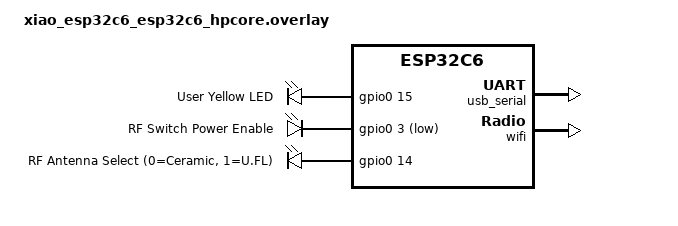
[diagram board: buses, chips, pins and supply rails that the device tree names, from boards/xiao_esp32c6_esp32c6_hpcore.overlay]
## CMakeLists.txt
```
cmake_minimum_required(VERSION 3.20.0)
find_package(Zephyr REQUIRED HINTS $ENV{ZEPHYR_BASE})
project(xiao_c6_zephyr_bringup)

if(CONFIG_WIFI AND CONFIG_MQTT_LIB)
    target_sources(app PRIVATE src/wifi_mqtt.c)
else()
    target_sources(app PRIVATE src/main.c)
endif()
```

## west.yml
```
manifest:
  defaults:
    remote: upstream

  remotes:
    - name: upstream
      url-base: https://github.com/zephyrproject-rtos

  projects:
    - name: zephyr
      remote: upstream
      revision: main
      clone-depth: 1
      import:
        name-allowlist:
          - hal_espressif
          - mbedtls
          - mcuboot
          - tf-psa-crypto

  self:
    path: xiao_c6_zephyr_app
```

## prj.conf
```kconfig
# Core & GPIO
CONFIG_GPIO=y
CONFIG_MAIN_STACK_SIZE=2048

# Console over built-in ESP32-C6 USB Serial/JTAG
CONFIG_SERIAL=y
CONFIG_CONSOLE=y
CONFIG_UART_CONSOLE=y

# High-resolution cycle counter for boot & latency benchmarking
CONFIG_TIMING_FUNCTIONS=y

# Enable Thread Info for Espressif OpenOCD debugging
CONFIG_DEBUG_THREAD_INFO=y
```

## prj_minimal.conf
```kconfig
CONFIG_GPIO=y
CONFIG_SERIAL=n
CONFIG_CONSOLE=n
CONFIG_UART_CONSOLE=n
CONFIG_PRINTK=n
CONFIG_BOOT_BANNER=n
CONFIG_SIZE_OPTIMIZATIONS=y
CONFIG_ASSERT=n
CONFIG_ERRNO=n
CONFIG_MAIN_STACK_SIZE=1024
CONFIG_IDLE_STACK_SIZE=512
CONFIG_ISR_STACK_SIZE=1024
```

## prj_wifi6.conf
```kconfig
# GPIO & Console over USB Serial/JTAG
CONFIG_GPIO=y
CONFIG_SERIAL=y
CONFIG_CONSOLE=y
CONFIG_UART_CONSOLE=y
CONFIG_PRINTK=y

# ESP32-C6 Wi-Fi 6 & L2 Ethernet Bridge
CONFIG_WIFI=y
CONFIG_WIFI_ESP32=y
CONFIG_NET_L2_ETHERNET=y
CONFIG_ESP32_WIFI_STA_AUTO_DHCPV4=y

# Core Zephyr Networking Stack
CONFIG_NETWORKING=y
CONFIG_NET_IPV4=y
CONFIG_NET_IPV6=n
CONFIG_NET_TCP=y
CONFIG_NET_UDP=y
CONFIG_NET_DHCPV4=y
CONFIG_DNS_RESOLVER=y

# Network Management Events & BSD Sockets
CONFIG_NET_MGMT=y
CONFIG_NET_MGMT_EVENT=y
CONFIG_NET_MGMT_EVENT_INFO=y
CONFIG_NET_MGMT_EVENT_STACK_SIZE=4096
CONFIG_NET_SOCKETS=y
CONFIG_POSIX_API=y

# MQTT Client Library
CONFIG_MQTT_LIB=y
CONFIG_MQTT_LIB_TLS=n

# Memory & Buffer Pool Tuning (Required for ESP32 Wi-Fi Blob + Zephyr net_pkt)
CONFIG_HEAP_MEM_POOL_SIZE=65536
CONFIG_MAIN_STACK_SIZE=4096
CONFIG_SYSTEM_WORKQUEUE_STACK_SIZE=2048
CONFIG_NET_TX_STACK_SIZE=2048
CONFIG_NET_RX_STACK_SIZE=2048
CONFIG_NET_PKT_RX_COUNT=16
CONFIG_NET_PKT_TX_COUNT=16
CONFIG_NET_BUF_RX_COUNT=32
CONFIG_NET_BUF_TX_COUNT=32

# Interactive Wi-Fi Shell (Allows testing via serial terminal: `wifi connect ...`)
CONFIG_SHELL=y
CONFIG_NET_SHELL=y
CONFIG_WIFI_SHELL=y
```

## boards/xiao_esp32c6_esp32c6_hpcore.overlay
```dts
/ {
    aliases {
        led0 = &user_led;
    };

    leds {
        compatible = "gpio-leds";
        user_led: led_0 {
            gpios = <&gpio0 15 GPIO_ACTIVE_HIGH>;
            label = "User Yellow LED";
        };
    };

    rf_switch {
        compatible = "gpio-leds";
        rf_switch_en: rf_en {
            gpios = <&gpio0 3 GPIO_ACTIVE_LOW>;
            label = "RF Switch Power Enable";
        };
        rf_ant_sel: rf_sel {
            gpios = <&gpio0 14 GPIO_ACTIVE_HIGH>;
            label = "RF Antenna Select (0=Ceramic, 1=U.FL)";
        };
    };
};

&usb_serial {
    status = "okay";
};

&wifi {
    status = "okay";
};
```

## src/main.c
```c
#include <zephyr/kernel.h>
#include <zephyr/drivers/gpio.h>
#include <zephyr/sys/printk.h>

#define LED0_NODE DT_ALIAS(led0)

static const struct gpio_dt_spec led = GPIO_DT_SPEC_GET(LED0_NODE, gpios);

int main(void)
{
    uint32_t boot_cycles = k_cycle_get_32();
    uint32_t boot_us = k_cyc_to_us_floor32(boot_cycles);

    if (!gpio_is_ready_dt(&led)) {
        printk("Error: User LED (led0) not ready!\n");
        return 0;
    }
    gpio_pin_configure_dt(&led, GPIO_OUTPUT_ACTIVE);

    printk("\n========================================\n");
    printk("  Seeed Studio XIAO ESP32C6 - Zephyr RTOS\n");
    printk("  Board: xiao_esp32c6 (RISC-V HP Core)   \n");
    printk("========================================\n");
    printk("Kernel ticks to main(): %u us (%u cycles)\n", boot_us, boot_cycles);
#if defined(CONFIG_XIAO_ESP32C6_EXT_ANTENNA)
    printk("Antenna Mode: External U.FL\n");
#else
    printk("Antenna Mode: Internal Ceramic\n");
#endif
    printk("Yellow User LED (GPIO 15) Active-LOW blinking...\n");
    printk("========================================\n\n");

    uint32_t count = 0;
    while (1) {
        gpio_pin_toggle_dt(&led);
        count++;
        if (count % 10 == 0) {
            printk("[Uptime: %lld ms] Heartbeat toggle #%u (LED active-low)\n",
                   k_uptime_get(), count);
        }
        k_msleep(500);
    }
    return 0;
}
```

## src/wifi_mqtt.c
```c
#include <zephyr/kernel.h>
#include <zephyr/drivers/gpio.h>
#include <zephyr/net/net_if.h>
#include <zephyr/net/wifi_mgmt.h>
#include <zephyr/net/net_event.h>
#include <zephyr/net/socket.h>
#include <zephyr/net/mqtt.h>
#include <zephyr/sys/printk.h>
#include <string.h>
#include <stdio.h>
#include <errno.h>

/* ---------------- CONFIGURATION ---------------- */
#define WIFI_SSID                "YOUR_WIFI_SSID"
#define WIFI_PSK                 "YOUR_WIFI_PASSWORD"
#define USE_EXTERNAL_UFL_ANTENNA 0

/* Public test broker IP (test.mosquitto.org = 5.196.95.208) or local LAN broker */
#define MQTT_BROKER_ADDR         "5.196.95.208"
#define MQTT_BROKER_PORT         1883
#define MQTT_CLIENT_ID           "xiao_esp32c6_zephyr"
#define MQTT_PUB_TOPIC           "xiao_c6/telemetry"
#define MQTT_SUB_TOPIC           "xiao_c6/cmd"
/* ----------------------------------------------- */

#define LED0_NODE   DT_ALIAS(led0)
#define RF_EN_NODE  DT_NODELABEL(rf_switch_en)
#define RF_SEL_NODE DT_NODELABEL(rf_ant_sel)

static const struct gpio_dt_spec led    = GPIO_DT_SPEC_GET(LED0_NODE, gpios);
static const struct gpio_dt_spec rf_en  = GPIO_DT_SPEC_GET(RF_EN_NODE, gpios);
static const struct gpio_dt_spec rf_sel = GPIO_DT_SPEC_GET(RF_SEL_NODE, gpios);

static K_SEM_DEFINE(wifi_connected_sem, 0, 1);
static K_SEM_DEFINE(ipv4_obtained_sem, 0, 1);

static struct net_mgmt_event_callback wifi_cb;
static struct net_mgmt_event_callback ipv4_cb;

/* MQTT client buffers & state */
static uint8_t rx_buffer[256];
static uint8_t tx_buffer[256];
static struct mqtt_client client_ctx;
static struct sockaddr_storage broker;
static struct zsock_pollfd fds[1];
static int nfds;
static bool mqtt_connected;

static void configure_xiao_rf_switch(void)
{
    if (gpio_is_ready_dt(&rf_en) && gpio_is_ready_dt(&rf_sel)) {
        /* GPIO3 Active-Low enables power to the onboard RF switch IC */
        gpio_pin_configure_dt(&rf_en, GPIO_OUTPUT_ACTIVE);
        /* GPIO14 selects between Ceramic (0) and External U.FL (1) */
        gpio_pin_configure_dt(&rf_sel,
            USE_EXTERNAL_UFL_ANTENNA ? GPIO_OUTPUT_ACTIVE : GPIO_OUTPUT_INACTIVE);
    }
}

static void wifi_event_handler(struct net_mgmt_event_callback *cb,
                               uint32_t mgmt_event, struct net_if *iface)
{
    const struct wifi_status *status = (const struct wifi_status *)cb->info;

    if (mgmt_event == NET_EVENT_WIFI_CONNECT_RESULT) {
        if (status->status) {
            printk("[WIFI] Connection failed (%d)\n", status->status);
        } else {
            printk("[WIFI] Connected to AP (802.11ax/b/g/n)\n");
            k_sem_give(&wifi_connected_sem);
        }
    } else if (mgmt_event == NET_EVENT_WIFI_DISCONNECT_RESULT) {
        printk("[WIFI] Disconnected\n");
        mqtt_connected = false;
    }
}

static void ipv4_event_handler(struct net_mgmt_event_callback *cb,
                               uint32_t mgmt_event, struct net_if *iface)
{
    if (mgmt_event == NET_EVENT_IPV4_ADDR_ADD) {
        char ip_buf[NET_IPV4_ADDR_LEN];
        struct net_if_ipv4 *ipv4 = iface->config.ip.ipv4;

        if (ipv4 && ipv4->unicast[0].ipv4.is_used) {
            net_addr_ntop(AF_INET, &ipv4->unicast[0].ipv4.address.in_addr,
                          ip_buf, sizeof(ip_buf));
            printk("[DHCP] IPv4 Address obtained: %s\n", ip_buf);
            k_sem_give(&ipv4_obtained_sem);
        }
    }
}

static int wifi_connect(void)
{
    struct net_if *iface = net_if_get_default();
    struct wifi_connect_req_params params = {0};

    params.ssid        = (const uint8_t *)WIFI_SSID;
    params.ssid_length = strlen(WIFI_SSID);
    params.psk         = (const uint8_t *)WIFI_PSK;
    params.psk_length  = strlen(WIFI_PSK);
    params.channel     = WIFI_CHANNEL_ANY;
    params.security    = WIFI_SECURITY_TYPE_PSK;
    params.band        = WIFI_FREQ_BAND_2_4_GHZ;
    params.mfp         = WIFI_MFP_OPTIONAL;

    printk("[WIFI] Connecting to SSID: %s ...\n", WIFI_SSID);
    return net_mgmt(NET_REQUEST_WIFI_CONNECT, iface, &params, sizeof(params));
}

static void mqtt_evt_handler(struct mqtt_client *const client,
                             const struct mqtt_evt *evt)
{
    switch (evt->type) {
    case MQTT_EVT_CONNACK:
        if (evt->result == 0) {
            mqtt_connected = true;
            printk("[MQTT] Connected to broker!\n");
        } else {
            printk("[MQTT] CONNACK failed: %d\n", evt->result);
        }
        break;
    case MQTT_EVT_DISCONNECT:
        mqtt_connected = false;
        printk("[MQTT] Disconnected (%d)\n", evt->result);
        break;
    case MQTT_EVT_PUBACK:
        printk("[MQTT] PUBACK packet id: %u\n", evt->param.puback.message_id);
        break;
    default:
        break;
    }
}

static int mqtt_connect_to_broker(void)
{
    struct sockaddr_in *broker4 = (struct sockaddr_in *)&broker;

    broker4->sin_family = AF_INET;
    broker4->sin_port   = htons(MQTT_BROKER_PORT);
    zsock_inet_pton(AF_INET, MQTT_BROKER_ADDR, &broker4->sin_addr);

    mqtt_client_init(&client_ctx);
    client_ctx.broker           = &broker;
    client_ctx.evt_cb           = mqtt_evt_handler;
    client_ctx.client_id.utf8   = (uint8_t *)MQTT_CLIENT_ID;
    client_ctx.client_id.size   = strlen(MQTT_CLIENT_ID);
    client_ctx.protocol_version = MQTT_VERSION_3_1_1;
    client_ctx.transport.type   = MQTT_TRANSPORT_NON_SECURE;

    client_ctx.rx_buf      = rx_buffer;
    client_ctx.rx_buf_size = sizeof(rx_buffer);
    client_ctx.tx_buf      = tx_buffer;
    client_ctx.tx_buf_size = sizeof(tx_buffer);

    int rc = mqtt_connect(&client_ctx);
    if (rc != 0) {
        printk("[MQTT] mqtt_connect failed: %d\n", rc);
        return rc;
    }

    fds[0].fd     = client_ctx.transport.tcp.sock;
    fds[0].events = ZSOCK_POLLIN;
    nfds          = 1;

    /* Wait for CONNACK */
    if (zsock_poll(fds, nfds, 5000) > 0) {
        mqtt_input(&client_ctx);
    }

    return mqtt_connected ? 0 : -EIO;
}

static int mqtt_publish_telemetry(uint32_t seq, uint32_t boot_us)
{
    char payload[128];
    struct mqtt_publish_param param = {0};

    snprintf(payload, sizeof(payload),
             "{\"board\":\"xiao_esp32c6\",\"seq\":%u,\"uptime_ms\":%lld,\"boot_us\":%u}",
             seq, k_uptime_get(), boot_us);

    param.message.topic.qos        = MQTT_QOS_0_AT_MOST_ONCE;
    param.message.topic.topic.utf8 = (uint8_t *)MQTT_PUB_TOPIC;
    param.message.topic.topic.size = strlen(MQTT_PUB_TOPIC);
    param.message.payload.data     = (uint8_t *)payload;
    param.message.payload.len      = strlen(payload);
    param.message_id               = seq;

    printk("[MQTT] Publishing -> %s: %s\n", MQTT_PUB_TOPIC, payload);
    return mqtt_publish(&client_ctx, &param);
}

int main(void)
{
    uint32_t boot_cycles = k_cycle_get_32();
    uint32_t boot_us     = k_cyc_to_us_floor32(boot_cycles);
    uint32_t seq         = 1;

    /* 1. Power on the XIAO ESP32C6 RF Antenna Multiplexer before Wi-Fi starts */
    configure_xiao_rf_switch();

    if (gpio_is_ready_dt(&led)) {
        gpio_pin_configure_dt(&led, GPIO_OUTPUT_ACTIVE);
    }

    printk("\n============================================\n");
    printk("XIAO ESP32C6 Wi-Fi 6 + MQTT Node (boot: %u us)\n", boot_us);
    printk("============================================\n");

    /* 2. Register Wi-Fi and IPv4 Event Callbacks */
    net_mgmt_init_event_callback(&wifi_cb, wifi_event_handler,
                                 NET_EVENT_WIFI_CONNECT_RESULT |
                                 NET_EVENT_WIFI_DISCONNECT_RESULT);
    net_mgmt_add_event_callback(&wifi_cb);

    net_mgmt_init_event_callback(&ipv4_cb, ipv4_event_handler,
                                 NET_EVENT_IPV4_ADDR_ADD);
    net_mgmt_add_event_callback(&ipv4_cb);

    /* Allow ESP32-C6 Wi-Fi MAC blob initialization to settle */
    k_sleep(K_SECONDS(1));

    /* 3. Connect to Wi-Fi AP & Wait for DHCPv4 */
    wifi_connect();
    k_sem_take(&wifi_connected_sem, K_FOREVER);
    k_sem_take(&ipv4_obtained_sem, K_FOREVER);

    /* 4. Connect to MQTT Broker & Publish Loop */
    while (1) {
        if (!mqtt_connected) {
            printk("[MQTT] Connecting to %s:%d ...\n", MQTT_BROKER_ADDR, MQTT_BROKER_PORT);
            if (mqtt_connect_to_broker() != 0) {
                k_sleep(K_SECONDS(5));
                continue;
            }
        }

        if (zsock_poll(fds, nfds, 1000) > 0) {
            mqtt_input(&client_ctx);
        }

        mqtt_live(&client_ctx);
        mqtt_publish_telemetry(seq++, boot_us);
        gpio_pin_toggle_dt(&led);

        k_sleep(K_SECONDS(5));
    }

    return 0;
}
```
